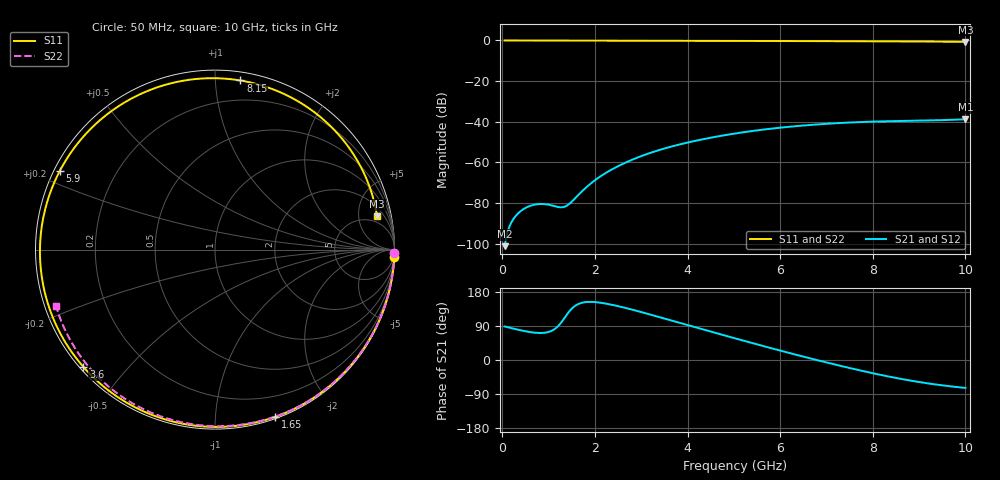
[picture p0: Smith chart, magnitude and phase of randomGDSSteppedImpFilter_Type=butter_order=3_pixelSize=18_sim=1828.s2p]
! freq	dB(S11)	phase(S11)	dB(S12)	phase(S12)
!  dB(S21)	phase(S21)	dB(S22)	phase(S22)
!S-par simulation data
#  GHz  S  DB  R 50
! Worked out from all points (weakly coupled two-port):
!   200 points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, 50 MHz to 10 GHz, reference 50 ohm
!   highest |S21| = -38.77 dB at 10 GHz (marker M1); lowest = -101.2 dB at 50 MHz (marker M2)
!   lowest |S11| = -0.7 dB at 10 GHz (marker M3), VSWR 24.61, Z = 172 + j424 ohm
!   |S11| at or under -10 dB: nowhere
!   |S22| runs from -0.5 to 0.0 dB; largest |S21 - S12| = 0
!   S11 on the Smith chart (normalised r, x): 50 MHz: 0, -51; 1.65 GHz: 0.01, -1.42; 3.6 GHz: 0.01, -0.38; 5.9 GHz: 0.02, +0.24; 8.15 GHz: 0.06, +1.16; 10 GHz: 3.44, +8.48
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0.05  -0.00 -2.2  -101.22 88.5  -101.22 88.5  -0.00 -0.9
0.7  -0.04 -30.8  -80.79 72.1  -80.79 72.1  -0.02 -13.0
1.1  -0.06 -47.9  -81.35 79.2  -81.35 79.2  -0.02 -20.3
1.45  -0.08 -62.2  -80.37 128.7  -80.37 128.7  -0.03 -26.6
1.65  -0.08 -70.2  -75.84 148.2  -75.84 148.2  -0.04 -30.2
1.75  -0.09 -74.1  -73.59 151.9  -73.59 151.9  -0.04 -32.0
2.05  -0.10 -85.5  -67.97 152.2  -67.97 152.2  -0.05 -37.4
2.45  -0.12 -100.1  -62.45 143.5  -62.45 143.5  -0.06 -44.4
2.9  -0.13 -115.6  -57.79 129.9  -57.79 129.9  -0.07 -52.2
3.4  -0.15 -132.0  -53.84 112.8  -53.84 112.8  -0.08 -60.7
3.6  -0.16 -138.3  -52.53 105.8  -52.53 105.8  -0.09 -64.1
4.3  -0.18 -159.8  -48.75 81.7  -48.75 81.7  -0.11 -75.5
5.05  -0.22 178.1  -45.70 56.3  -45.70 56.3  -0.13 -87.4
5.9  -0.27 153.0  -43.16 28.1  -43.16 28.1  -0.17 -100.5
6.7  -0.32 128.8  -41.49 2.7  -41.49 2.7  -0.22 -112.4
7.45  -0.37 105.0  -40.44 -19.7  -40.44 -19.7  -0.27 -123.3
8.15  -0.42 81.5  -39.84 -38.8  -39.84 -38.8  -0.33 -133.4
8.35  -0.44 74.5  -39.73 -43.8  -39.73 -43.8  -0.35 -136.3
8.75  -0.48 60.1  -39.55 -53.0  -39.55 -53.0  -0.39 -142.0
9.15  -0.52 45.3  -39.39 -61.0  -39.39 -61.0  -0.43 -147.8
9.6  -0.60 27.9  -39.14 -68.4  -39.14 -68.4  -0.49 -154.4
10  -0.71 11.6  -38.77 -73.7  -38.77 -73.7  -0.54 -160.3
